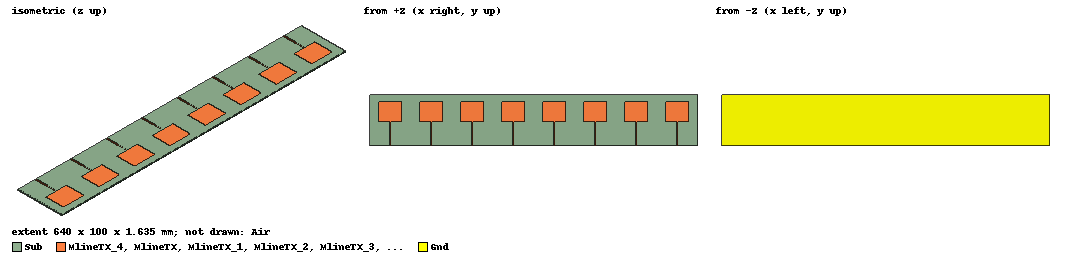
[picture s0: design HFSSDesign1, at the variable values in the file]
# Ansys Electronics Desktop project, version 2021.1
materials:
  vacuum: permittivity=1
  FR4_epoxy: permittivity=4.4 dielectric_loss_tangent=0.02
  copper: permeability=0.999991 conductivity=58000000

design HFSSDesign1 (HFSS, DrivenModal, model units mm)
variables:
  w = 46.26mm
  l = 39.7mm
  w1 = 2.98mm
  w2 = 1mm
  d = 28mm
  zkzh = 18.72mm
  w0 = 80mm
  l0 = 100mm
  h = 1.6mm
  lambda = 165mm
  ds = 80mm
  k = 10deg
  n = 1W
  ps = -90deg
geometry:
  MlineTX [copper] = rectangle(corner=(-w/2, 0mm, 0mm), x_size=w, y_size=l)
  Tliner = rectangle(corner=(-w2/2, 0mm, 0mm), x_size=w2, y_size=-zkzh)
  Mline50 = rectangle(corner=(-w1/2, -zkzh, 0mm), x_size=w1, y_size=-d)
  MlineTX.unite(Tliner, Mline50)
  Sub [FR4_epoxy] = box(corner=(-w0/2, -zkzh-d, 0mm), size=(w0, l0, -h))
  port = rectangle(corner=(-w1/2, -zkzh-d, 0), z_size=-h, x_size=w1)
  MlineTX.sweep_along_vector((0mm, 0mm, 0.035mm))
  MlineTX_1..MlineTX_7 [copper] = MlineTX.duplicate_along_line(step=(ds, 0mm, 0mm), total=8)
  Sub_1..Sub_7 = Sub.duplicate_along_line(step=(ds, 0mm, 0mm), total=8)
  port_1..port_7 = port.duplicate_along_line(step=(ds, 0mm, 0mm), total=8)
  Sub.unite(Sub_1..Sub_7)
  Air [vacuum] = box(corner=(-w0/2-lambda/2, -l0/2-lambda/2, lambda/2), size=(8*w0+lambda, l0+lambda, -lambda-h))
  Gnd = rectangle(corner=(600mm, -46.72mm, -1.6mm), x_size=-640mm, y_size=100mm)
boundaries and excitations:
  Rad1: Radiation Objects=Air
  PerfE1: Perfect E Objects=Gnd
  1: Lumped Port Objects=port Modes{Mode1{IntLine{middle of port.edge(z opposite corner) -> middle of port.edge(z at corner)} CharImp=Zpi RenormImp=50ohm}} Impedance=50ohm
  2: Lumped Port Objects=port_1 Modes{Mode1{IntLine{middle of port_1.edge(2 of 4) -> middle of port_1.edge(4 of 4)} CharImp=Zpi RenormImp=50ohm}} Impedance=50ohm
  3: Lumped Port Objects=port_2 Modes{Mode1{IntLine{middle of port_2.edge(2 of 4) -> middle of port_2.edge(4 of 4)} CharImp=Zpi RenormImp=50ohm}} Impedance=50ohm
  4: Lumped Port Objects=port_3 Modes{Mode1{IntLine{middle of port_3.edge(2 of 4) -> middle of port_3.edge(4 of 4)} CharImp=Zpi RenormImp=50ohm}} Impedance=50ohm
  5: Lumped Port Objects=port_4 Modes{Mode1{IntLine{middle of port_4.edge(2 of 4) -> middle of port_4.edge(4 of 4)} CharImp=Zpi RenormImp=50ohm}} Impedance=50ohm
  6: Lumped Port Objects=port_5 Modes{Mode1{IntLine{middle of port_5.edge(2 of 4) -> middle of port_5.edge(4 of 4)} CharImp=Zpi RenormImp=50ohm}} Impedance=50ohm
  7: Lumped Port Objects=port_6 Modes{Mode1{IntLine{middle of port_6.edge(2 of 4) -> middle of port_6.edge(4 of 4)} CharImp=Zpi RenormImp=50ohm}} Impedance=50ohm
  8: Lumped Port Objects=port_7 Modes{Mode1{IntLine{middle of port_7.edge(2 of 4) -> middle of port_7.edge(4 of 4)} CharImp=Zpi RenormImp=50ohm}} Impedance=50ohm
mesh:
  initial mesh: GlobalSurfApproximation{CurvedSurfaceApproxChoice=UseSlider SliderMeshSettings=6}
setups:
  Setup1: HfssDriven Frequency=1.75GHz MaxDeltaS=0.01 MaximumPasses=10 MinimumPasses=1 MinimumConvergedPasses=1 PercentRefinement=30 BasisOrder=1 PortAccuracy=2
    sweep Sweep: 1.1GHz to 3GHz, 120 points; Type=Discrete SaveFields SaveRadFields
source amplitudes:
  1:1: 0.5*n 3*k
  2:1: n 2*k
  3:1: 3*n k
  4:1: 5*n 0deg
  5:1: 3*n -k
  6:1: 3*n -2*k
  7:1: n -3*k
  8:1: 0.5*n -4*k
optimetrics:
  ParametricSetup2: Parametric Sim._Setups=[Setup1]
    sweep k: LIN 10deg 90deg 10deg
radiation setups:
  EH: Infinite Sphere Theta=0deg..360deg step 2deg Phi=0deg..90deg step 90deg
  ALL: Infinite Sphere Theta=0deg..360deg step 2deg Phi=-180deg..180deg step 2deg
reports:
  Gain Plot 1: dB(DirTotal) vs Theta on Setup1 : LastAdaptive, EH [Phi=0deg Freq=1.75GHz k=all]
